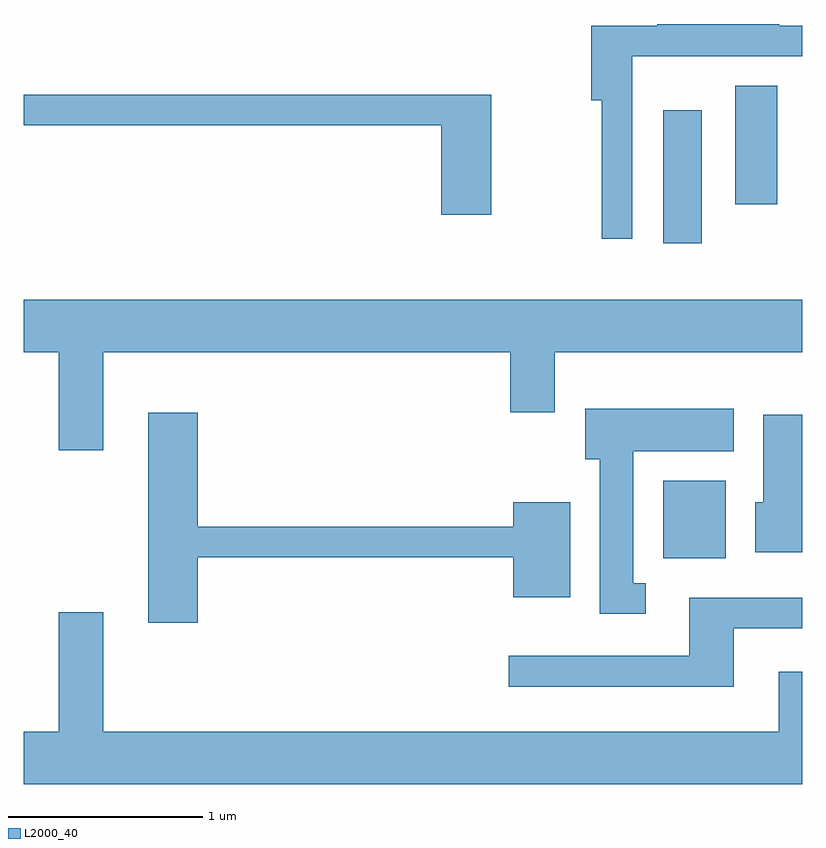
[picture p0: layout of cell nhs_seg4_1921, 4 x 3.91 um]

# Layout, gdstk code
import gdstk
lib = gdstk.Library(unit=1e-6, precision=1e-09)
def R(c, l, rs):  # rectangles x0, y0, x1, y1
    for r in rs: c.add(gdstk.rectangle(r[:2], r[2:], *l))
def P(c, l, *ps):  # polygons
    for p in ps: c.add(gdstk.Polygon(p, *l))
L2000_40 = (2000, 40)

nhs_seg4_1921 = lib.new_cell('nhs_seg4_1921')
R(nhs_seg4_1921, L2000_40, [(244.896,1289.236,245.219,1289.634), (244.896,1290.856,245.094,1291.539), (245.266,1291.056,245.484,1291.664)])
P(nhs_seg4_1921, L2000_40, [(244.739,1291.816),(245.611,1291.816),(245.611,1291.974),(245.494,1291.974),(245.494,1291.982),(244.866,1291.982),(244.866,1291.974),(244.526,1291.974),(244.526,1291.591),(244.581,1291.591),(244.581,1290.878),(244.739,1290.878)],
  [(244.014,1291.619),(241.611,1291.619),(241.611,1291.461),(243.756,1291.461),(243.756,1291.001),(244.014,1291.001)],
  [(242.019,1290.296),(244.111,1290.296),(244.111,1289.986),(244.339,1289.986),(244.339,1290.296),(245.611,1290.296),(245.611,1290.564),(241.611,1290.564),(241.611,1290.296),(241.791,1290.296),(241.791,1289.791),(242.019,1289.791)],
  [(244.808,1289.109),(244.744,1289.109),(244.744,1289.786),(245.259,1289.786),(245.259,1290.004),(244.496,1290.004),(244.496,1289.746),(244.571,1289.746),(244.571,1288.951),(244.808,1288.951)],
  [(242.504,1289.241),(244.126,1289.241),(244.126,1289.036),(244.419,1289.036),(244.419,1289.524),(244.126,1289.524),(244.126,1289.399),(242.504,1289.399),(242.504,1289.984),(242.251,1289.984),(242.251,1288.906),(242.504,1288.906)],
  [(245.611,1289.974),(245.411,1289.974),(245.411,1289.524),(245.371,1289.524),(245.371,1289.266),(245.611,1289.266)],
  [(245.259,1288.876),(245.611,1288.876),(245.611,1289.034),(245.031,1289.034),(245.031,1288.734),(244.103,1288.734),(244.103,1288.576),(245.259,1288.576)],
  [(245.611,1288.654),(245.491,1288.654),(245.491,1288.344),(242.019,1288.344),(242.019,1288.959),(241.791,1288.959),(241.791,1288.344),(241.611,1288.344),(241.611,1288.076),(245.611,1288.076)])

lib.write_gds('nhs_seg4_1921.gds')
